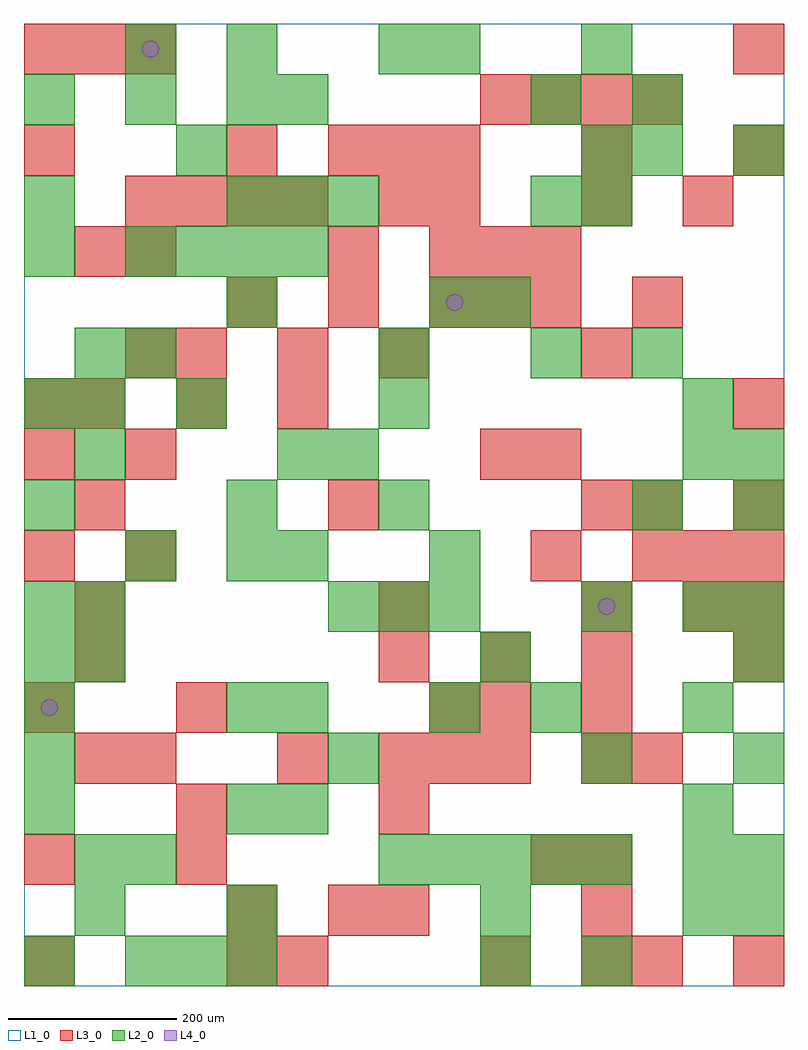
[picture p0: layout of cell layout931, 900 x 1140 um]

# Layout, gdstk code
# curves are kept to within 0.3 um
import gdstk
lib = gdstk.Library(unit=1e-6, precision=1e-09)
def R(c, l, rs):  # rectangles x0, y0, x1, y1
    for r in rs: c.add(gdstk.rectangle(r[:2], r[2:], *l))
def A(c, l, x, y, w, h, nx, ny, dx, dy):  # array of equal rectangles
    R(c, l, [(x+i*dx, y+j*dy, x+i*dx+w, y+j*dy+h) for i in range(nx) for j in range(ny)])
def P(c, l, *ps):  # polygons
    for p in ps: c.add(gdstk.Polygon(p, *l))
L1_0 = (1, 0)
L2_0 = (2, 0)
L3_0 = (3, 0)
L4_0 = (4, 0)

layout931 = lib.new_cell('layout931')
R(layout931, L1_0, [(0,0,900,1140)])
A(layout931, L2_0, 120, 0, 60, 60, 3, 1, 60, 0)
A(layout931, L2_0, 240, 60, 60, 60, 1, 3, 0, 120)
A(layout931, L2_0, 780, 60, 60, 60, 1, 3, 0, 60)
A(layout931, L2_0, 420, 120, 60, 60, 5, 1, 60, 0)
A(layout931, L2_0, 840, 120, 60, 60, 1, 3, 0, 120)
A(layout931, L2_0, 0, 180, 60, 60, 1, 5, 0, 60)
A(layout931, L2_0, 360, 420, 60, 60, 3, 1, 60, 0)
A(layout931, L2_0, 480, 480, 60, 60, 1, 3, 0, 300)
A(layout931, L2_0, 60, 600, 60, 60, 1, 3, 0, 60)
A(layout931, L2_0, 120, 840, 60, 60, 4, 1, 60, 0)
A(layout931, L2_0, 240, 900, 60, 60, 3, 1, 60, 0)
A(layout931, L2_0, 0, 1020, 60, 60, 3, 1, 120, 0)
R(layout931, L2_0, [(0,0,60,60), (540,0,600,60), (660,0,720,60), (60,60,120,120), (540,60,600,120), (840,60,900,120), (60,120,120,180), (120,120,180,180), (300,180,360,240), (360,240,420,300), (660,240,720,300), (300,300,360,360), (480,300,540,360), (600,300,660,360), (780,300,840,360), (60,360,120,420), (540,360,600,420), (60,420,120,480), (660,420,720,480), (780,420,840,480), (840,420,900,480), (120,480,180,540), (240,480,300,540), (300,480,360,540), (0,540,60,600), (240,540,300,600), (420,540,480,600), (720,540,780,600), (840,540,900,600), (300,600,360,660), (360,600,420,660), (780,600,840,660), (840,600,900,660), (0,660,60,720), (180,660,240,720), (420,660,480,720), (780,660,840,720), (120,720,180,780), (420,720,480,780), (600,720,660,780), (720,720,780,780), (240,780,300,840), (540,780,600,840), (0,840,60,900), (0,900,60,960), (600,900,660,960), (660,900,720,960), (180,960,240,1020), (660,960,720,1020), (720,960,780,1020), (840,960,900,1020), (300,1020,360,1080), (600,1020,660,1080), (720,1020,780,1080), (120,1080,180,1140), (240,1080,300,1140), (420,1080,480,1140), (660,1080,720,1140)])
A(layout931, L3_0, 540, 0, 60, 60, 1, 3, 0, 300)
A(layout931, L3_0, 660, 0, 60, 60, 1, 3, 0, 60)
A(layout931, L3_0, 0, 120, 60, 60, 1, 3, 0, 180)
A(layout931, L3_0, 420, 240, 60, 60, 3, 1, 60, 0)
A(layout931, L3_0, 420, 360, 60, 60, 3, 1, 120, 0)
A(layout931, L3_0, 840, 420, 60, 60, 1, 3, 0, 120)
A(layout931, L3_0, 120, 480, 60, 60, 1, 4, 0, 120)
A(layout931, L3_0, 720, 480, 60, 60, 3, 1, 60, 0)
A(layout931, L3_0, 60, 540, 60, 60, 3, 1, 300, 0)
A(layout931, L3_0, 60, 660, 60, 60, 3, 1, 120, 0)
A(layout931, L3_0, 180, 720, 60, 60, 3, 1, 120, 0)
A(layout931, L3_0, 240, 780, 60, 60, 3, 1, 120, 0)
A(layout931, L3_0, 480, 840, 60, 60, 3, 1, 60, 0)
A(layout931, L3_0, 120, 900, 60, 60, 4, 1, 60, 0)
A(layout931, L3_0, 360, 960, 60, 60, 3, 1, 60, 0)
A(layout931, L3_0, 540, 1020, 60, 60, 4, 1, 60, 0)
A(layout931, L3_0, 0, 1080, 60, 60, 3, 1, 60, 0)
R(layout931, L3_0, [(0,0,60,60), (240,0,300,60), (300,0,360,60), (720,0,780,60), (840,0,900,60), (240,60,300,120), (360,60,420,120), (420,60,480,120), (180,120,240,180), (600,120,660,180), (180,180,240,240), (420,180,480,240), (60,240,120,300), (120,240,180,300), (300,240,360,300), (660,240,720,300), (720,240,780,300), (180,300,240,360), (480,300,540,360), (660,300,720,360), (60,360,120,420), (840,360,900,420), (60,420,120,480), (420,420,480,480), (660,420,720,480), (780,420,840,480), (600,480,660,540), (720,540,780,600), (0,600,60,660), (600,600,660,660), (0,660,60,720), (660,720,720,780), (540,780,600,840), (600,780,660,840), (720,780,780,840), (60,840,120,900), (360,840,420,900), (420,900,480,960), (480,900,540,960), (660,900,720,960), (780,900,840,960), (0,960,60,1020), (240,960,300,1020), (660,960,720,1020), (840,960,900,1020), (840,1080,900,1140)])
P(layout931, L4_0, [(40,330),(39.239,333.827),(37.071,337.071),(33.827,339.239),(30,340),(26.173,339.239),(22.929,337.071),(20.761,333.827),(20,330),(20.761,326.173),(22.929,322.929),(26.173,320.761),(30,320),(33.827,320.761),(37.071,322.929),(39.239,326.173)],
  [(160,1110),(159.239,1113.827),(157.071,1117.071),(153.827,1119.239),(150,1120),(146.173,1119.239),(142.929,1117.071),(140.761,1113.827),(140,1110),(140.761,1106.173),(142.929,1102.929),(146.173,1100.761),(150,1100),(153.827,1100.761),(157.071,1102.929),(159.239,1106.173)],
  [(520,810),(519.239,813.827),(517.071,817.071),(513.827,819.239),(510,820),(506.173,819.239),(502.929,817.071),(500.761,813.827),(500,810),(500.761,806.173),(502.929,802.929),(506.173,800.761),(510,800),(513.827,800.761),(517.071,802.929),(519.239,806.173)],
  [(700,450),(699.239,453.827),(697.071,457.071),(693.827,459.239),(690,460),(686.173,459.239),(682.929,457.071),(680.761,453.827),(680,450),(680.761,446.173),(682.929,442.929),(686.173,440.761),(690,440),(693.827,440.761),(697.071,442.929),(699.239,446.173)])

lib.write_gds('layout931.gds')
